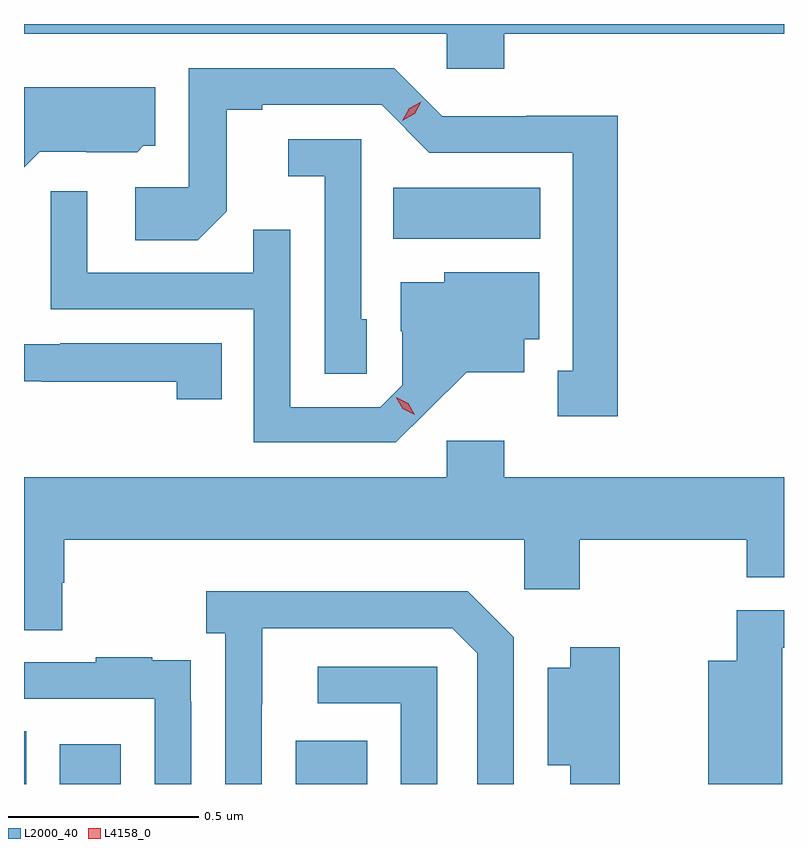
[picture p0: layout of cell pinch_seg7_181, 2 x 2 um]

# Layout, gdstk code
import gdstk
lib = gdstk.Library(unit=1e-6, precision=1e-09)
def R(c, l, rs):  # rectangles x0, y0, x1, y1
    for r in rs: c.add(gdstk.rectangle(r[:2], r[2:], *l))
def P(c, l, *ps):  # polygons
    for p in ps: c.add(gdstk.Polygon(p, *l))
L2000_40 = (2000, 40)
L4158_0 = (4158, 0)

pinch_seg7_181 = lib.new_cell('pinch_seg7_181')
R(pinch_seg7_181, L2000_40, [(1045.264,1019.953,1045.27,1020.092), (1045.358,1019.953,1045.519,1020.058), (1045.979,1019.953,1046.167,1020.067), (1046.236,1021.388,1046.623,1021.522)])
P(pinch_seg7_181, L2000_40, [(1046.528,1021.928),(1047.264,1021.928),(1047.264,1021.953),(1045.264,1021.953),(1045.264,1021.928),(1046.376,1021.928),(1046.376,1021.835),(1046.528,1021.835)],
  [(1046.827,1021.712),(1046.586,1021.712),(1046.586,1021.71),(1046.364,1021.71),(1046.238,1021.836),(1045.698,1021.836),(1045.698,1021.524),(1045.557,1021.524),(1045.557,1021.384),(1045.721,1021.384),(1045.797,1021.46),(1045.797,1021.728),(1045.891,1021.728),(1045.891,1021.74),(1046.205,1021.74),(1046.331,1021.614),(1046.708,1021.614),(1046.708,1021.041),(1046.669,1021.041),(1046.669,1020.921),(1046.827,1020.921)],
  [(1045.305,1021.617),(1045.428,1021.617),(1045.428,1021.616),(1045.562,1021.616),(1045.578,1021.632),(1045.609,1021.632),(1045.609,1021.786),(1045.264,1021.786),(1045.264,1021.576)],
  [(1046.166,1021.176),(1046.151,1021.176),(1046.151,1021.65),(1045.959,1021.65),(1045.959,1021.553),(1046.055,1021.553),(1046.055,1021.033),(1046.166,1021.033)],
  [(1046.326,1020.935),(1046.429,1021.037),(1046.581,1021.037),(1046.581,1021.124),(1046.62,1021.124),(1046.62,1021.3),(1046.37,1021.3),(1046.37,1021.273),(1046.255,1021.273),(1046.255,1021.144),(1046.259,1021.144),(1046.259,1021.002),(1046.202,1020.945),(1045.965,1020.945),(1045.965,1021.412),(1045.867,1021.412),(1045.867,1021.299),(1045.431,1021.299),(1045.431,1021.513),(1045.335,1021.513),(1045.335,1021.203),(1045.869,1021.203),(1045.869,1020.852),(1046.242,1020.852)],
  [(1045.784,1021.113),(1045.36,1021.113),(1045.36,1021.11),(1045.264,1021.11),(1045.264,1021.013),(1045.309,1021.013),(1045.309,1021.012),(1045.666,1021.012),(1045.666,1020.966),(1045.784,1020.966)],
  [(1045.365,1020.483),(1045.37,1020.483),(1045.37,1020.596),(1046.58,1020.596),(1046.58,1020.465),(1046.727,1020.465),(1046.727,1020.596),(1047.166,1020.596),(1047.166,1020.497),(1047.264,1020.497),(1047.264,1020.76),(1046.528,1020.76),(1046.528,1020.856),(1046.376,1020.856),(1046.376,1020.76),(1045.264,1020.76),(1045.264,1020.358),(1045.365,1020.358)],
  [(1045.89,1020.163),(1045.891,1020.163),(1045.891,1020.363),(1046.391,1020.363),(1046.457,1020.297),(1046.457,1019.953),(1046.553,1019.953),(1046.553,1020.339),(1046.432,1020.46),(1045.743,1020.46),(1045.743,1020.35),(1045.794,1020.35),(1045.794,1019.953),(1045.89,1019.953)],
  [(1047.259,1020.312),(1047.264,1020.312),(1047.264,1020.41),(1047.139,1020.41),(1047.139,1020.277),(1047.065,1020.277),(1047.065,1019.953),(1047.259,1019.953)],
  [(1046.832,1020.313),(1046.702,1020.313),(1046.702,1020.259),(1046.642,1020.259),(1046.642,1020.002),(1046.702,1020.002),(1046.702,1019.953),(1046.832,1019.953)],
  [(1045.704,1020.17),(1045.703,1020.17),(1045.703,1020.279),(1045.601,1020.279),(1045.601,1020.286),(1045.453,1020.286),(1045.453,1020.273),(1045.264,1020.273),(1045.264,1020.177),(1045.608,1020.177),(1045.608,1019.953),(1045.704,1019.953)],
  [(1046.352,1020.261),(1046.037,1020.261),(1046.037,1020.165),(1046.256,1020.165),(1046.256,1019.953),(1046.352,1019.953)])
P(pinch_seg7_181, L4158_0, [(1046.26,1021.698),(1046.26,1021.699),(1046.278,1021.731),(1046.31,1021.749),(1046.31,1021.749),(1046.31,1021.749),(1046.292,1021.717),(1046.26,1021.698)],
  [(1046.292,1020.925),(1046.261,1020.941),(1046.243,1020.97),(1046.243,1020.971),(1046.244,1020.971),(1046.275,1020.955),(1046.292,1020.925),(1046.292,1020.925)])

lib.write_gds('pinch_seg7_181.gds')
